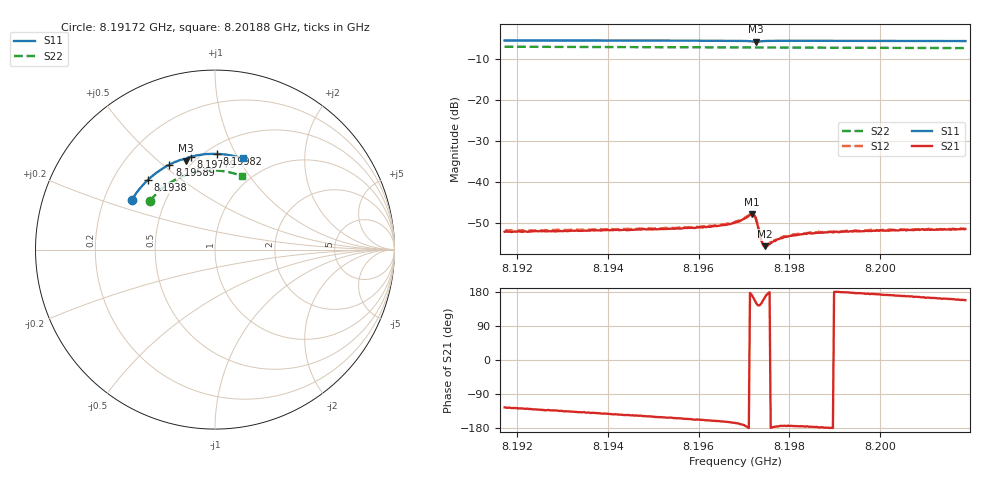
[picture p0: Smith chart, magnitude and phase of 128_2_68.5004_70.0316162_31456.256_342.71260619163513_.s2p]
#  HZ  S  RI  R  50.00
! Rohde & Schwarz Vector Network Analyzer
! Rohde-Schwarz,ZNB20-2Port,1311601062101988,3.16
! Created: UTC 3/20/2024, 4:54:15 PM
! freq[Hz]  re:S11  im:S11  re:S21  im:S21  re:S12  im:S12  re:S22  im:S22
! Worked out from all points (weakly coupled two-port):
!   401 points, 8.19172 GHz to 8.20188 GHz, reference 50 ohm
!   highest |S21| = -47.86 dB at 8.19718 GHz (marker M1); lowest = -55.7 dB at 8.19746 GHz (marker M2)
!   lowest |S11| = -5.7 dB at 8.19726 GHz (marker M3), VSWR 3.18, Z = 22.8 + j31.1 ohm
!   |S11| at or under -10 dB: nowhere
!   |S22| runs from -7.2 to -6.9 dB; largest |S21 - S12| = 0.0002
!   S11 on the Smith chart (normalised r, x): 8.19172 GHz: 0.32, +0.25; 8.1938 GHz: 0.35, +0.38; 8.19589 GHz: 0.40, +0.53; 8.19779 GHz: 0.46, +0.67; 8.19982 GHz: 0.57, +0.85; 8.20188 GHz: 0.74, +1.04
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8.191722e9  -0.4651 0.2744  -0.00141 -0.00201  -0.00152 -0.00202  -0.3613 0.2723
8.193423e9  -0.3926 0.3695  -0.00188 -0.00169  -0.00199 -0.00169  -0.2953 0.3398
8.193804e9  -0.3735 0.3883  -0.00198 -0.00163  -0.0021 -0.00162  -0.2787 0.3531
8.195124e9  -0.3006 0.4462  -0.00233 -0.00129  -0.00241 -0.00123  -0.2164 0.392
8.195886e9  -0.254 0.4733  -0.00252 -0.00107  -0.00261 -0.00103  -0.1775 0.4097
8.196318e9  -0.226 0.4867  -0.0027 -0.000957  -0.00274 -0.000881  -0.1548 0.4181
8.196648e9  -0.2037 0.4958  -0.0029 -0.000837  -0.00303 -0.000781  -0.1372 0.4236
8.1968e9  -0.1927 0.4995  -0.00309 -0.000773  -0.00317 -0.000672  -0.1289 0.4259
8.197181e9  -0.1621 0.5  -0.00397 0.000744  -0.00397 0.000906  -0.1081 0.4307
8.197232e9  -0.1609 0.497  -0.00356 0.00143  -0.00354 0.00159  -0.1054 0.4313
8.197257e9  -0.1616 0.4961  -0.00317 0.00165  -0.00316 0.00182  -0.104 0.4315
8.197384e9  -0.1625 0.5028  -0.00164 0.000951  -0.0016 0.00104  -0.0973 0.4333
8.19741e9  -0.1613 0.5048  -0.00159 0.000724  -0.0016 0.000784  -0.096 0.4334
8.19746e9  -0.1578 0.5079  -0.00158 0.000421  -0.00163 0.000501  -0.0931 0.4341
8.197511e9  -0.1542 0.5102  -0.00163 0.00019  -0.0017 0.000265  -0.0902 0.4346
8.197689e9  -0.1406 0.5158  -0.00188 -0.000141  -0.00195 -9.16e-05  -0.0804 0.4362
8.19779e9  -0.133 0.5182  -0.00202 -0.000204  -0.00204 -0.000133  -0.0746 0.4372
8.198044e9  -0.1147 0.5226  -0.00218 -0.000245  -0.00223 -0.000167  -0.0604 0.4389
8.198501e9  -0.0821 0.5285  -0.00235 -0.000146  -0.00238 -4.36e-05  -0.0345 0.4409
8.199822e9  0.0116 0.5334  -0.00251 0.000231  -0.00252 0.000358  0.0401 0.4379
8.200202e9  0.0384 0.5316  -0.0025 0.000381  -0.00256 0.000526  0.0614 0.4347
8.201878e9  0.1543 0.508  -0.00247 0.000998  -0.00242 0.00108  0.1528 0.4081
